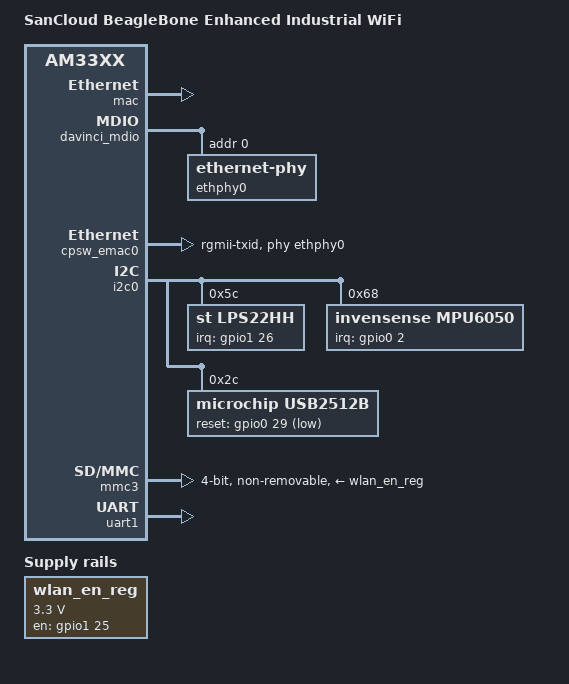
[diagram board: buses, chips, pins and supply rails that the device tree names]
// SPDX-License-Identifier: GPL-2.0-only
/*
 * Copyright (C) 2019 Sancloud Ltd
 * Copyright (C) 2012 Texas Instruments Incorporated - http://www.ti.com/
 */
/dts-v1/;

#include "am33xx.dtsi"
#include "am335x-bone-common.dtsi"
#include "am335x-boneblack-common.dtsi"
#include <dt-bindings/interrupt-controller/irq.h>

/ {
	model = "SanCloud BeagleBone Enhanced Industrial WiFi";
	compatible = "sancloud,am335x-boneenhanced", "ti,am335x-bone-black", "ti,am335x-bone", "ti,am33xx";

	wlan_en_reg: fixedregulator@2 {
		compatible = "regulator-fixed";
		regulator-name = "wlan-en-regulator";
		regulator-min-microvolt = <3300000>;
		regulator-max-microvolt = <3300000>;
		startup-delay-us= <100000>;

		/* RADIO_EN */
		gpio = <&gpio1 25 0>;
		enable-active-high;
	};
};

&am33xx_pinmux {
	pinctrl-names = "default";

	cpsw_default: cpsw_default {
		pinctrl-single,pins = <
			/* Slave 1 */
			AM33XX_IOPAD(AM335X_PIN_MII1_TX_EN, PIN_OUTPUT_PULLDOWN | MUX_MODE2)	/* mii1_txen.rgmii1_tctl */
			AM33XX_IOPAD(AM335X_PIN_MII1_RX_DV, PIN_INPUT_PULLDOWN | MUX_MODE2)	/* mii1_rxdv.rgmii1_rctl */
			AM33XX_IOPAD(AM335X_PIN_MII1_TXD3, PIN_OUTPUT_PULLDOWN | MUX_MODE2)	/* mii1_txd3.rgmii1_td3 */
			AM33XX_IOPAD(AM335X_PIN_MII1_TXD2, PIN_OUTPUT_PULLDOWN | MUX_MODE2)	/* mii1_txd2.rgmii1_td2 */
			AM33XX_IOPAD(AM335X_PIN_MII1_TXD1, PIN_OUTPUT_PULLDOWN | MUX_MODE2)	/* mii1_txd1.rgmii1_td1 */
			AM33XX_IOPAD(AM335X_PIN_MII1_TXD0, PIN_OUTPUT_PULLDOWN | MUX_MODE2)	/* mii1_txd0.rgmii1_td0 */
			AM33XX_IOPAD(AM335X_PIN_MII1_TX_CLK, PIN_OUTPUT_PULLDOWN | MUX_MODE2)	/* mii1_txclk.rgmii1_tclk */
			AM33XX_IOPAD(AM335X_PIN_MII1_RX_CLK, PIN_INPUT_PULLDOWN | MUX_MODE2)	/* mii1_rxclk.rgmii1_rclk */
			AM33XX_IOPAD(AM335X_PIN_MII1_RXD3, PIN_INPUT_PULLDOWN | MUX_MODE2)	/* mii1_rxd3.rgmii1_rd3 */
			AM33XX_IOPAD(AM335X_PIN_MII1_RXD2, PIN_INPUT_PULLDOWN | MUX_MODE2)	/* mii1_rxd2.rgmii1_rd2 */
			AM33XX_IOPAD(AM335X_PIN_MII1_RXD1, PIN_INPUT_PULLDOWN | MUX_MODE2)	/* mii1_rxd1.rgmii1_rd1 */
			AM33XX_IOPAD(AM335X_PIN_MII1_RXD0, PIN_INPUT_PULLDOWN | MUX_MODE2)	/* mii1_rxd0.rgmii1_rd0 */
		>;
	};

	cpsw_sleep: cpsw_sleep {
		pinctrl-single,pins = <
			/* Slave 1 reset value */
			AM33XX_IOPAD(AM335X_PIN_MII1_TX_EN, PIN_INPUT_PULLDOWN | MUX_MODE7)
			AM33XX_IOPAD(AM335X_PIN_MII1_RX_DV, PIN_INPUT_PULLDOWN | MUX_MODE7)
			AM33XX_IOPAD(AM335X_PIN_MII1_TXD3, PIN_INPUT_PULLDOWN | MUX_MODE7)
			AM33XX_IOPAD(AM335X_PIN_MII1_TXD2, PIN_INPUT_PULLDOWN | MUX_MODE7)
			AM33XX_IOPAD(AM335X_PIN_MII1_TXD1, PIN_INPUT_PULLDOWN | MUX_MODE7)
			AM33XX_IOPAD(AM335X_PIN_MII1_TXD0, PIN_INPUT_PULLDOWN | MUX_MODE7)
			AM33XX_IOPAD(AM335X_PIN_MII1_TX_CLK, PIN_INPUT_PULLDOWN | MUX_MODE7)
			AM33XX_IOPAD(AM335X_PIN_MII1_RX_CLK, PIN_INPUT_PULLDOWN | MUX_MODE7)
			AM33XX_IOPAD(AM335X_PIN_MII1_RXD3, PIN_INPUT_PULLDOWN | MUX_MODE7)
			AM33XX_IOPAD(AM335X_PIN_MII1_RXD2, PIN_INPUT_PULLDOWN | MUX_MODE7)
			AM33XX_IOPAD(AM335X_PIN_MII1_RXD1, PIN_INPUT_PULLDOWN | MUX_MODE7)
			AM33XX_IOPAD(AM335X_PIN_MII1_RXD0, PIN_INPUT_PULLDOWN | MUX_MODE7)
		>;
	};

	davinci_mdio_default: davinci_mdio_default {
		pinctrl-single,pins = <
			/* MDIO */
			AM33XX_IOPAD(AM335X_PIN_MDIO, PIN_INPUT_PULLUP | SLEWCTRL_FAST | MUX_MODE0)
			AM33XX_IOPAD(AM335X_PIN_MDC, PIN_OUTPUT_PULLUP | MUX_MODE0)
		>;
	};

	davinci_mdio_sleep: davinci_mdio_sleep {
		pinctrl-single,pins = <
			/* MDIO reset value */
			AM33XX_IOPAD(AM335X_PIN_MDIO, PIN_INPUT_PULLDOWN | MUX_MODE7)
			AM33XX_IOPAD(AM335X_PIN_MDC, PIN_INPUT_PULLDOWN | MUX_MODE7)
		>;
	};

	usb_hub_ctrl: usb_hub_ctrl {
		pinctrl-single,pins = <
			AM33XX_IOPAD(AM335X_PIN_RMII1_REF_CLK, PIN_OUTPUT_PULLUP | MUX_MODE7)     /* rmii1_refclk.gpio0_29 */
		>;
	};

	mpu6050_pins: pinmux_mpu6050_pins {
		pinctrl-single,pins = <
			AM33XX_IOPAD(AM335X_PIN_UART0_CTSN, PIN_INPUT | MUX_MODE7)    /* uart0_ctsn.gpio1_8 */
		>;
	};

	lps3331ap_pins: pinmux_lps3331ap_pins {
		pinctrl-single,pins = <
			AM33XX_IOPAD(AM335X_PIN_GPMC_A10, PIN_INPUT | MUX_MODE7)     /* gpmc_a10.gpio1_26 */
		>;
	};

	mmc3_pins: pinmux_mmc3_pins {
		pinctrl-single,pins = <
			AM33XX_IOPAD(AM335X_PIN_GPMC_AD12, PIN_INPUT_PULLUP | MUX_MODE3)	/* gpmc_ad12.mmc2_dat0 */
			AM33XX_IOPAD(AM335X_PIN_GPMC_AD13, PIN_INPUT_PULLUP | MUX_MODE3)	/* gpmc_ad13.mmc2_dat1 */
			AM33XX_IOPAD(AM335X_PIN_GPMC_AD14, PIN_INPUT_PULLUP | MUX_MODE3)	/* gpmc_ad14.mmc2_dat2 */
			AM33XX_IOPAD(AM335X_PIN_GPMC_AD15, PIN_INPUT_PULLUP | MUX_MODE3)	/* gpmc_ad15.mmc2_dat3 */
			AM33XX_IOPAD(AM335X_PIN_GPMC_CSN3, PIN_INPUT_PULLUP | MUX_MODE3)	/* gpmc_csn3.mmc2_cmd */
			AM33XX_IOPAD(AM335X_PIN_GPMC_CLK, PIN_INPUT_PULLUP | MUX_MODE3)	/* gpmc_clk.mmc2_clk */
		>;
	};

	bluetooth_pins: pinmux_bluetooth_pins {
		pinctrl-single,pins = <
			AM33XX_IOPAD(AM335X_PIN_GPMC_A9, PIN_OUTPUT_PULLUP | MUX_MODE7)			/* gpmc_a9.gpio1_25 */
			AM33XX_IOPAD(AM335X_PIN_XDMA_EVENT_INTR0, PIN_INPUT_PULLUP | MUX_MODE7)	/* event_intr0.gpio0_19 */
		>;
	};

	uart1_pins: pinmux_uart1_pins {
		pinctrl-single,pins = <
			AM33XX_IOPAD(AM335X_PIN_UART1_RXD, PIN_INPUT | MUX_MODE0)				/* uart1_rxd */
			AM33XX_IOPAD(AM335X_PIN_UART1_TXD, PIN_INPUT | MUX_MODE0)				/* uart1_txd */
			AM33XX_IOPAD(AM335X_PIN_UART1_CTSN, PIN_INPUT_PULLDOWN | MUX_MODE0)	/* uart1_ctsn */
			AM33XX_IOPAD(AM335X_PIN_UART1_RTSN, PIN_OUTPUT_PULLDOWN | MUX_MODE0)	/* uart1_rtsn */
		>;
	};

	nxp_hdmi_bonelt_pins: nxp_hdmi_bonelt_pins {
		pinctrl-single,pins = <>;
	};

	nxp_hdmi_bonelt_off_pins: nxp_hdmi_bonelt_off_pins {
		pinctrl-single,pins = <>;
	};
};

&mac {
	pinctrl-names = "default", "sleep";
	pinctrl-0 = <&cpsw_default>;
	pinctrl-1 = <&cpsw_sleep>;
	status = "okay";
};

&davinci_mdio {
	pinctrl-names = "default", "sleep";
	pinctrl-0 = <&davinci_mdio_default>;
	pinctrl-1 = <&davinci_mdio_sleep>;
	status = "okay";

	ethphy0: ethernet-phy@0 {
		reg = <0>;
	};
};

&cpsw_emac0 {
	phy-handle = <&ethphy0>;
	phy-mode = "rgmii-txid";
};

&i2c0 {
	lps22hh: barometer@5c {
		compatible = "st,lps22hh";
		st,drdy-int-pin = <1>;
		reg = <0x5c>;
		interrupt-parent = <&gpio1>;
		interrupts = <26 IRQ_TYPE_EDGE_RISING>;
	};

	mpu6050: accelerometer@68 {
		compatible = "invensense,mpu6050";
		reg = <0x68>;
		interrupt-parent = <&gpio0>;
		interrupts = <2 IRQ_TYPE_EDGE_RISING>;
		orientation = <0xff 0 0 0 1 0 0 0 0xff>;
	};

	usb2512b: usb-hub@2c {
		compatible = "microchip,usb2512b";
		reg = <0x2c>;
		reset-gpios = <&gpio0 29 GPIO_ACTIVE_LOW>;
		/* wifi on port 4 */
	};
};

&tda19988 {
	status = "disabled";
};

&i2c2 {
	status = "disabled";
};

&mmc3 {
	status = "okay";
	vmmc-supply = <&wlan_en_reg>;
	bus-width = <4>;
	non-removable;
	cap-power-off-card;
	ti,needs-special-hs-handling;
	keep-power-in-suspend;
	pinctrl-names = "default";
	pinctrl-0 = <&mmc3_pins>;
	dmas = <&edma_xbar 12 0 1
		&edma_xbar 13 0 2>;
	dma-names = "tx", "rx";
	clock-frequency = <50000000>;
	max-frequency = <50000000>;
};

&uart1 {
	status = "okay";
	pinctrl-names = "default";
	pinctrl-0 = <&uart1_pins &bluetooth_pins>;

/*	bluetooth {
		status = "okay";
		compatible = "qcom,qca6174-bt";
		enable-gpios = <&gpio1 25 GPIO_ACTIVE_HIGH>;
		clocks = <&l4ls_clkctrl AM3_L4LS_UART2_CLKCTRL 0>;
		interrupt-parent = <&gpio0>;
		interrupts = <19 IRQ_TYPE_EDGE_RISING>;
	};
*/
};

&lcdc {
	status = "disabled";
};
